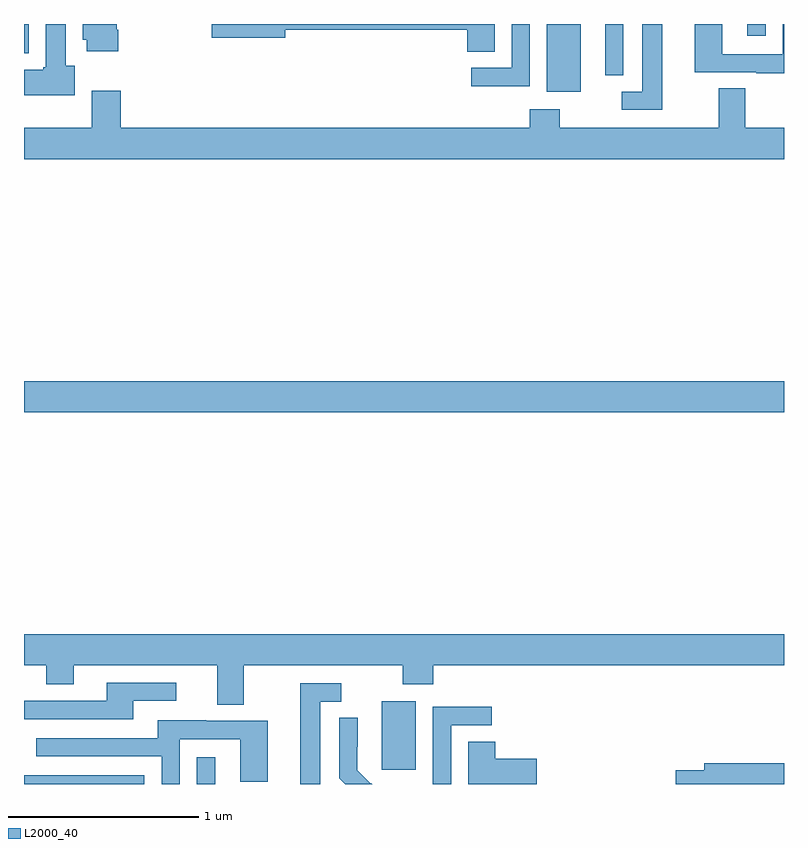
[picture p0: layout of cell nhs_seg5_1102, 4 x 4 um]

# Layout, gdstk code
import gdstk
lib = gdstk.Library(unit=1e-6, precision=1e-09)
def R(c, l, rs):  # rectangles x0, y0, x1, y1
    for r in rs: c.add(gdstk.rectangle(r[:2], r[2:], *l))
def P(c, l, *ps):  # polygons
    for p in ps: c.add(gdstk.Polygon(p, *l))
L2000_40 = (2000, 40)

nhs_seg5_1102 = lib.new_cell('nhs_seg5_1102')
R(nhs_seg5_1102, L2000_40, [(179,858.799,179.634,858.846), (179.91,858.799,180.007,858.94), (180.884,858.873,181.063,859.234), (179,860.756,183,860.92), (181.751,862.442,181.93,862.799), (179,862.646,179.026,862.799), (182.807,862.737,182.904,862.799)])
P(nhs_seg5_1102, L2000_40, [(182.154,862.799),(182.06,862.799),(182.06,862.682),(182.058,862.682),(182.058,862.528),(182.154,862.528)],
  [(179.266,862.578),(179.221,862.578),(179.221,862.799),(179.114,862.799),(179.114,862.572),(179.101,862.572),(179.101,862.558),(179,862.558),(179,862.424),(179.266,862.424)],
  [(182.359,862.799),(182.255,862.799),(182.255,862.443),(182.145,862.443),(182.145,862.347),(182.359,862.347)],
  [(181.477,862.799),(179.988,862.799),(179.988,862.726),(180.376,862.726),(180.376,862.768),(181.334,862.768),(181.334,862.654),(181.477,862.654)],
  [(181.662,862.799),(181.566,862.799),(181.566,862.569),(181.353,862.569),(181.353,862.471),(181.662,862.471)],
  [(179.496,862.768),(179.488,862.768),(179.488,862.799),(179.309,862.799),(179.309,862.716),(179.33,862.716),(179.33,862.656),(179.496,862.656)],
  [(183,862.799),(182.994,862.799),(182.994,862.641),(182.676,862.641),(182.676,862.799),(182.531,862.799),(182.531,862.545),(182.855,862.545),(182.855,862.541),(183,862.541)],
  [(183,862.252),(182.797,862.252),(182.797,862.46),(182.657,862.46),(182.657,862.252),(181.821,862.252),(181.821,862.351),(181.661,862.351),(181.661,862.252),(179.51,862.252),(179.51,862.447),(179.357,862.447),(179.357,862.252),(179,862.252),(179,862.088),(183,862.088)],
  [(180.157,859.424),(180.994,859.424),(180.994,859.325),(181.154,859.325),(181.154,859.424),(183,859.424),(183,859.588),(179,859.588),(179,859.424),(179.116,859.424),(179.116,859.325),(179.263,859.325),(179.263,859.424),(180.017,859.424),(180.017,859.216),(180.157,859.216)],
  [(179.575,859.236),(179.8,859.236),(179.8,859.332),(179.435,859.332),(179.435,859.236),(179,859.236),(179,859.14),(179.575,859.14)],
  [(180.559,859.233),(180.67,859.233),(180.67,859.329),(180.455,859.329),(180.455,858.799),(180.559,858.799)],
  [(181.248,859.107),(181.462,859.107),(181.462,859.206),(181.152,859.206),(181.152,858.799),(181.248,858.799)],
  [(180.828,858.804),(180.825,858.801),(180.755,858.872),(180.755,858.994),(180.756,858.994),(180.756,859.148),(180.66,859.148),(180.66,858.83),(180.691,858.799),(180.833,858.799)],
  [(179.82,859.035),(180.138,859.035),(180.138,858.811),(180.283,858.811),(180.283,859.131),(179.959,859.131),(179.959,859.135),(179.705,859.135),(179.705,859.041),(179.065,859.041),(179.065,858.945),(179.724,858.945),(179.724,858.799),(179.82,858.799)],
  [(181.699,858.932),(181.481,858.932),(181.481,859.022),(181.337,859.022),(181.337,858.799),(181.699,858.799)],
  [(183,858.908),(182.579,858.908),(182.579,858.872),(182.43,858.872),(182.43,858.799),(183,858.799)])

lib.write_gds('nhs_seg5_1102.gds')
